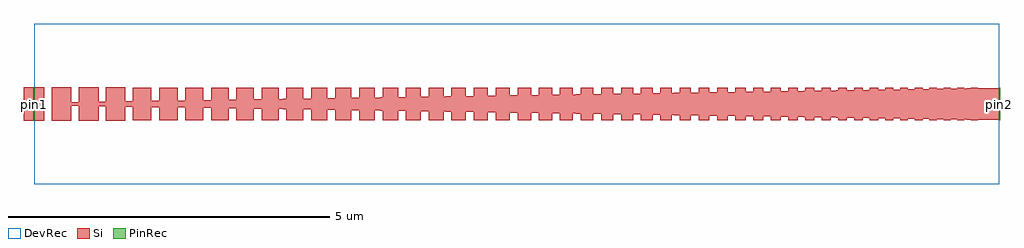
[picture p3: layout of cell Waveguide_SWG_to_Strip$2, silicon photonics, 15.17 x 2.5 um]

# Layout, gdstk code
import gdstk
lib = gdstk.Library(unit=1e-6, precision=1e-09)
def R(c, l, rs):  # rectangles x0, y0, x1, y1
    for r in rs: c.add(gdstk.rectangle(r[:2], r[2:], *l))
def P(c, l, *ps):  # polygons
    for p in ps: c.add(gdstk.Polygon(p, *l))
Si = (1, 0)
PinRec = (1, 10)
DevRec = (68, 0)

waveguide_swg_to_strip_2 = lib.new_cell('Waveguide_SWG_to_Strip$2')
R(waveguide_swg_to_strip_2, Si, [(-0.157,-0.257,0.157,0.257), (0.272,-0.257,0.581,0.257), (0.697,-0.257,1.001,0.257), (1.117,-0.257,1.415,0.257), (1.532,-0.256,1.824,0.256), (1.942,-0.256,2.229,0.256), (2.348,-0.256,2.63,0.256), (2.749,-0.256,3.025,0.256), (3.145,-0.256,3.416,0.256), (3.536,-0.256,3.802,0.256), (3.922,-0.255,4.182,0.255), (4.303,-0.255,4.558,0.255), (4.679,-0.255,4.929,0.255), (5.05,-0.255,5.295,0.255), (5.416,-0.255,5.655,0.255), (5.777,-0.255,6.012,0.255), (6.134,-0.254,6.364,0.254), (6.486,-0.254,6.711,0.254), (6.833,-0.254,7.053,0.254), (7.175,-0.254,7.39,0.254), (7.512,-0.254,7.722,0.254), (7.844,-0.254,8.05,0.254), (8.171,-0.253,8.372,0.253), (8.493,-0.253,8.689,0.253), (8.81,-0.253,9.002,0.253), (9.123,-0.253,9.311,0.253), (9.431,-0.253,9.614,0.253), (9.734,-0.253,9.912,0.253), (10.032,-0.253,10.206,0.253), (10.325,-0.252,10.495,0.252), (10.613,-0.252,10.778,0.252), (10.896,-0.252,11.057,0.252), (11.174,-0.252,11.331,0.252), (11.447,-0.252,11.6,0.252), (11.716,-0.252,11.865,0.252), (11.98,-0.251,12.125,0.251), (12.239,-0.251,12.38,0.251), (12.493,-0.251,12.63,0.251), (12.742,-0.251,12.875,0.251), (12.986,-0.251,13.115,0.251), (13.225,-0.251,13.35,0.251), (13.459,-0.25,13.58,0.25), (13.688,-0.25,13.806,0.25), (13.912,-0.25,14.026,0.25), (14.132,-0.25,14.243,0.25), (14.347,-0.25,14.454,0.25), (14.557,-0.25,14.661,0.25)])
P(waveguide_swg_to_strip_2, Si, [(15,-0.25),(0.319,-0.03),(0.319,0.03),(15,0.25)])
R(waveguide_swg_to_strip_2, DevRec, [(0,-1.25,15,1.25)])
waveguide_swg_to_strip_2.add(gdstk.FlexPath([(0.01,0),(-0.01,0)], 0.515, ends="flush", simple_path=True, layer=1, datatype=10))  # PinRec
waveguide_swg_to_strip_2.add(gdstk.FlexPath([(14.99,0),(15.01,0)], 0.5, ends="flush", simple_path=True, layer=1, datatype=10))  # PinRec
waveguide_swg_to_strip_2.add(gdstk.Label('pin1', (0,0), layer=1, texttype=10))
waveguide_swg_to_strip_2.add(gdstk.Label('pin2', (15,0), layer=1, texttype=10))

lib.write_gds('Waveguide_SWG_to_Strip_2.gds')
